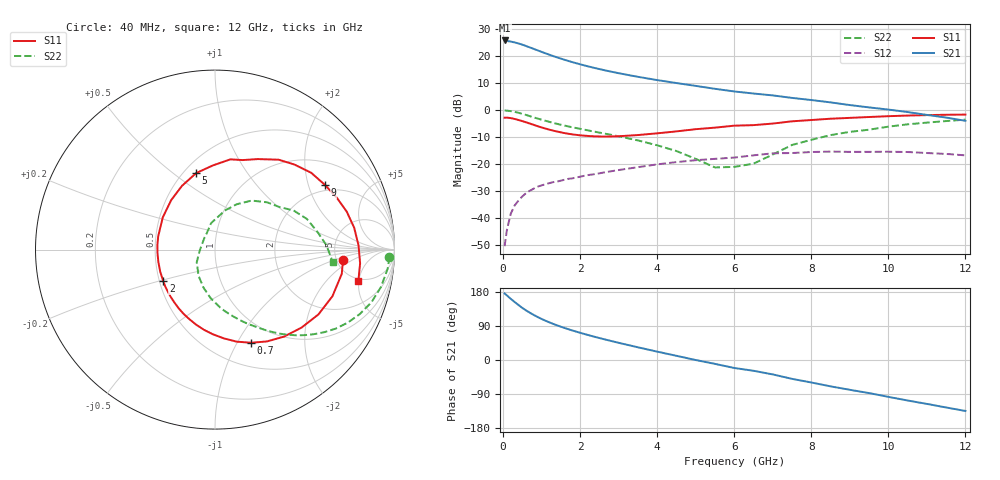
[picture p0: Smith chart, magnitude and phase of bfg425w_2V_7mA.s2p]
! Filename: 27bfg425.001
! BFG425W Field C1
! V1=8.380E-001V,V2=2.000E+000V, I1=9.357E-005A, I2=6.990E-003A
# GHz  S  MA  R 50
!  S11  S21  S12  S22
!Freq(GHz)  Mag  Ang  Mag  Ang  Mag  Ang  Mag  Ang
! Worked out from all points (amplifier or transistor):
!   44 points, 40 MHz to 12 GHz, reference 50 ohm
!   highest |S21| = 25.7 dB at 40 MHz (marker M1)
!   |S21| within 3 dB of that: start of sweep to 772.9 MHz
!   unconditionally stable (mu >= 1): 2.179 GHz to end of sweep
!   at 700 MHz: K = 0.42, MSG = 26.5 dB, |S12| = -29.9 dB
!   at 2.4 GHz: K = 1.06, MAG = 18.1 dB, |S12| = -23.7 dB
!   at 12 GHz: K = 1.43, MAG = 2.5 dB, |S12| = -16.8 dB
!   S11 on the Smith chart (normalised r, x): 40 MHz: 5.73, -1.33; 700 MHz: 0.76, -1.15; 2 GHz: 0.52, -0.21; 5 GHz: 0.58, +0.61; 9 GHz: 1.77, +2.58; 12 GHz: 4.61, -4.92
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0.04  0.716 -4.5  19.28 175.5  0.003 83.5  0.973 -2.4
0.2  0.704 -21.7  18.38 161.3  0.012 77.7  0.948 -12.7
0.3  0.68 -32.1  17.73 153.1  0.017 72.7  0.92 -18.6
0.4  0.649 -42.0  16.95 145.1  0.021 67.8  0.883 -24.0
0.5  0.619 -51.5  16.11 137.4  0.025 63.5  0.844 -28.8
0.6  0.588 -60.5  15.18 130.6  0.029 59.6  0.804 -33.2
0.7  0.557 -68.7  14.27 124.5  0.032 56.2  0.763 -37.1
0.9  0.498 -84.1  12.62 113.3  0.038 51.1  0.69 -43.7
1.2  0.431 -104.2  10.51 99.4  0.044 45.6  0.601 -51.5
1.4  0.398 -116.2  9.383 91.5  0.047 43.1  0.552 -55.8
1.6  0.371 -127.7  8.446 84.4  0.051 41.1  0.511 -59.6
2  0.338 -148.5  6.979 71.8  0.058 37.7  0.446 -66.9
2.2  0.329 -158.1  6.407 66.1  0.062 36.1  0.418 -70.4
3  0.325 166.9  4.775 45.4  0.077 29.2  0.324 -84.9
3.5  0.342 148.2  4.094 33.5  0.087 24.0  0.272 -95.1
4.5  0.4 117.4  3.138 11.1  0.108 11.6  0.173 -121.9
5  0.439 103.8  2.78 -0.1  0.117 3.9  0.124 -145.2
6.5  0.522 72.8  2.009 -28.4  0.144 -13.1  0.101 117.5
8.5  0.686 38.6  1.376 -69.5  0.169 -49.0  0.341 53.2
9  0.711 30.4  1.228 -78.7  0.167 -57.2  0.392 42.2
10.5  0.785 8.9  0.912 -106.9  0.166 -83.7  0.54 18.4
12  0.818 -12.5  0.628 -134.5  0.144 -113.6  0.66 -6.0
